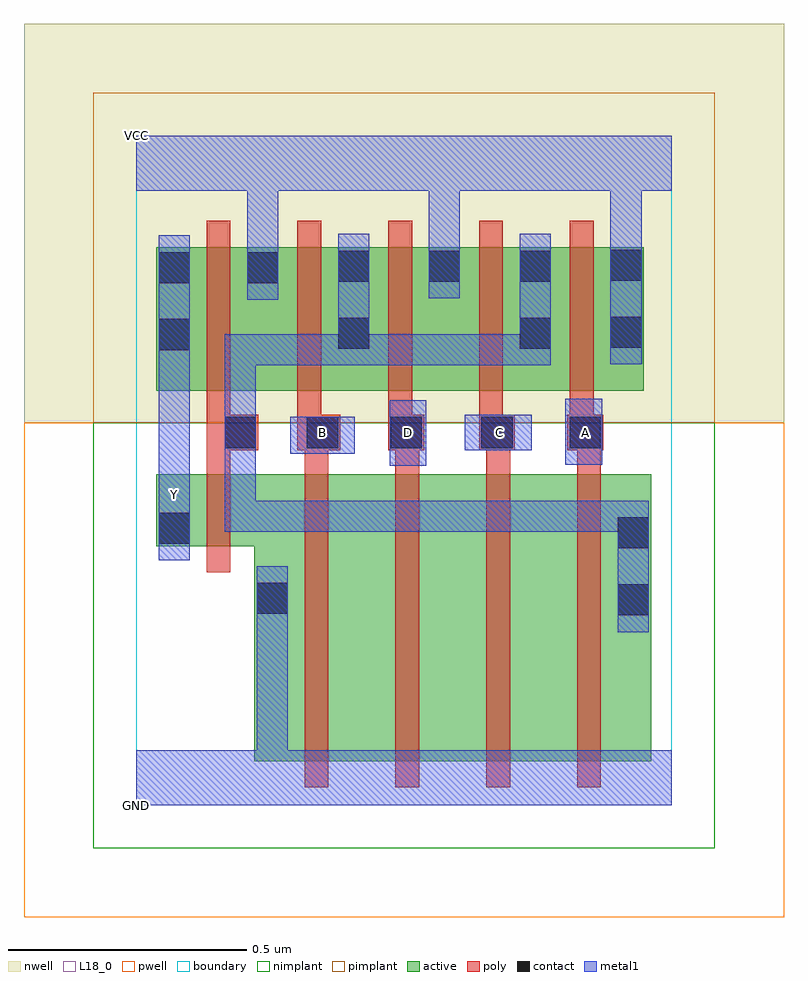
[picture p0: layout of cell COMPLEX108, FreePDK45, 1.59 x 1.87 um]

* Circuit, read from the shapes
.subckt COMPLEX108 A B C D GND VCC Y
M1 GND n1 Y VSUBS nfet w=0.15u l=0.05u
M2 n2 B GND VSUBS nfet w=0.6u l=0.05u
M3 n3 D n2 VSUBS nfet w=0.6u l=0.05u
M4 n4 C n3 VSUBS nfet w=0.6u l=0.05u
M5 n1 A n4 VSUBS nfet w=0.6u l=0.05u
M6 VCC n1 Y n5 pfet w=0.3u l=0.05u
M7 n1 B VCC n5 pfet w=0.3u l=0.05u
M8 VCC D n1 n5 pfet w=0.3u l=0.05u
M9 n1 C VCC n5 pfet w=0.3u l=0.05u
M10 VCC A n1 n5 pfet w=0.3u l=0.05u
.ends

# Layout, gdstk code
import gdstk
lib = gdstk.Library(unit=1e-6, precision=1e-09)
def R(c, l, rs):  # rectangles x0, y0, x1, y1
    for r in rs: c.add(gdstk.rectangle(r[:2], r[2:], *l))
def A(c, l, x, y, w, h, nx, ny, dx, dy):  # array of equal rectangles
    R(c, l, [(x+i*dx, y+j*dy, x+i*dx+w, y+j*dy+h) for i in range(nx) for j in range(ny)])
active = (1, 0)
pwell = (2, 0)
nwell = (3, 0)
nimplant = (4, 0)
pimplant = (5, 0)
poly = (9, 0)
contact = (10, 0)
metal1 = (11, 0)
L18_0 = (18, 0)
boundary = (235, 0)

complex108 = lib.new_cell('COMPLEX108')
A(complex108, active, 0.227, 0.867, 0.265, 0.3, 4, 1, 0.19, 0)
R(complex108, active, [(0.247,0.092,0.472,0.692), (0.247,0.092,0.322,0.692), (0.472,0.092,0.662,0.692), (0.662,0.092,0.852,0.692), (0.852,0.092,1.077,0.692), (1.002,0.145,1.077,0.692), (0.042,0.542,0.322,0.692), (0.042,0.542,0.117,0.692), (0.042,0.867,0.117,1.167), (0.042,0.867,0.302,1.167), (0.987,0.867,1.062,1.167), (0.417,0.875,0.492,1.167), (0.797,0.95,0.872,1.167), (0.227,1.002,0.302,1.167), (0.607,1.002,0.682,1.167)])
R(complex108, pwell, [(-0.235,-0.235,1.355,0.8)])
R(complex108, nwell, [(-0.235,0.8,1.355,1.635)])
R(complex108, nimplant, [(-0.09,-0.09,1.21,0.8)])
R(complex108, pimplant, [(-0.09,0.8,1.21,1.49)])
A(complex108, poly, 0.352, 0.037, 0.05, 0.71, 4, 1, 0.19, 0)
A(complex108, poly, 0.352, 0.697, 0.05, 0.095, 4, 1, 0.19, 0)
A(complex108, poly, 0.147, 0.767, 0.05, 0.095, 5, 1, 0.19, 0)
A(complex108, poly, 0.147, 0.812, 0.05, 0.41, 5, 1, 0.19, 0)
R(complex108, poly, [(0.147,0.487,0.197,0.747), (0.147,0.697,0.197,0.792), (0.147,0.742,0.255,0.817), (0.337,0.742,0.427,0.817), (0.527,0.742,0.602,0.817), (0.717,0.742,0.792,0.817), (0.902,0.742,0.977,0.817)])
A(complex108, contact, 0.422, 1.095, 0.065, 0.065, 3, 1, 0.19, 0)
R(complex108, contact, [(1.007,0.397,1.072,0.462), (0.252,0.4,0.317,0.465), (1.007,0.537,1.072,0.602), (0.047,0.547,0.112,0.612), (0.185,0.747,0.25,0.812), (0.357,0.747,0.422,0.812), (0.532,0.747,0.597,0.812), (0.722,0.747,0.787,0.812), (0.907,0.747,0.972,0.812), (0.047,0.952,0.112,1.017), (0.422,0.955,0.487,1.02), (0.802,0.955,0.867,1.02), (0.992,0.957,1.057,1.022), (0.047,1.092,0.112,1.157), (0.232,1.092,0.297,1.157), (0.992,1.097,1.057,1.162)])
R(complex108, metal1, [(0,0,1.12,0.115), (0.252,0.05,0.317,0.115), (0.252,0.05,0.317,0.115), (0.252,0.05,0.317,0.43), (1.007,0.362,1.072,0.637), (0.252,0.365,0.317,0.5), (0.047,0.512,0.112,0.647), (0.185,0.572,0.25,0.637), (0.185,0.572,0.457,0.637), (0.185,0.572,0.25,0.777), (0.392,0.572,0.457,0.637), (0.392,0.572,0.457,0.637), (0.392,0.572,0.457,0.637), (0.392,0.572,0.615,0.637), (0.55,0.572,0.615,0.637), (0.55,0.572,0.625,0.637), (0.56,0.572,0.625,0.637), (0.56,0.572,0.825,0.637), (0.76,0.572,0.825,0.637), (0.76,0.572,0.825,0.637), (0.76,0.572,0.825,0.637), (0.76,0.572,1.072,0.637), (1.007,0.572,1.072,0.637), (1.007,0.572,1.072,0.637), (0.047,0.582,0.112,0.647), (0.047,0.582,0.112,0.717), (0.047,0.652,0.112,0.982), (0.53,0.71,0.607,0.847), (0.185,0.712,0.25,0.777), (0.185,0.712,0.25,0.777), (0.185,0.712,0.25,0.847), (0.185,0.712,0.25,0.985), (0.897,0.712,0.975,0.85), (0.322,0.735,0.457,0.812), (0.687,0.742,0.827,0.817), (0.047,0.917,0.112,1.192), (0.185,0.92,0.25,0.985), (0.185,0.92,0.457,0.985), (0.392,0.92,0.457,0.985), (0.392,0.92,0.487,0.985), (0.422,0.92,0.487,1.195), (0.422,0.92,0.615,0.985), (0.55,0.92,0.615,0.985), (0.55,0.92,0.625,0.985), (0.56,0.92,0.625,0.985), (0.56,0.92,0.752,0.985), (0.687,0.92,0.752,0.985), (0.687,0.92,0.867,0.985), (0.802,0.92,0.867,1.195), (0.992,0.922,1.057,1.197), (0.232,1.057,0.297,1.192), (0.612,1.06,0.677,1.195), (0.232,1.127,0.297,1.35), (0.612,1.13,0.677,1.35), (0.992,1.132,1.057,1.35), (0,1.285,1.12,1.4), (0.232,1.285,0.297,1.35), (0.232,1.285,0.297,1.35), (0.612,1.285,0.677,1.35), (0.612,1.285,0.677,1.35), (0.992,1.285,1.057,1.35), (0.992,1.285,1.057,1.35)])
R(complex108, L18_0, [(0,0,1.12,0.115), (0.252,0.05,0.317,0.115), (0.252,0.05,0.317,0.115), (0.252,0.05,0.317,0.43), (0.252,0.365,0.317,0.5), (0.047,0.512,0.112,0.647), (0.047,0.582,0.112,0.717), (0.047,0.582,0.112,0.647), (0.047,0.617,0.112,0.682), (0.047,0.652,0.112,0.982), (0.53,0.71,0.607,0.847), (0.897,0.712,0.975,0.85), (0.322,0.735,0.457,0.812), (0.687,0.742,0.827,0.817), (0.357,0.747,0.422,0.812), (0.537,0.747,0.602,0.812), (0.727,0.747,0.792,0.812), (0.907,0.747,0.972,0.812), (0.047,0.917,0.112,1.192), (0.992,0.922,1.057,1.197), (0.232,1.057,0.297,1.192), (0.612,1.06,0.677,1.195), (0.232,1.127,0.297,1.35), (0.612,1.13,0.677,1.35), (0.992,1.132,1.057,1.35), (0,1.285,1.12,1.4), (0.232,1.285,0.297,1.35), (0.232,1.285,0.297,1.35), (0.612,1.285,0.677,1.35), (0.612,1.285,0.677,1.35), (0.992,1.285,1.057,1.35), (0.992,1.285,1.057,1.35)])
R(complex108, boundary, [(0,0,1.12,1.4)])
complex108.add(gdstk.Label('A', (0.94,0.78), layer=11, texttype=0))
complex108.add(gdstk.Label('B', (0.39,0.78), layer=11, texttype=0))
complex108.add(gdstk.Label('C', (0.76,0.78), layer=11, texttype=0))
complex108.add(gdstk.Label('D', (0.57,0.78), layer=11, texttype=0))
complex108.add(gdstk.Label('Y', (0.08,0.65), layer=11, texttype=0))
complex108.add(gdstk.Label('VCC', (0,1.4), layer=11, texttype=0))
complex108.add(gdstk.Label('GND', (0,0), layer=11, texttype=0))

lib.write_gds('COMPLEX108.gds')
